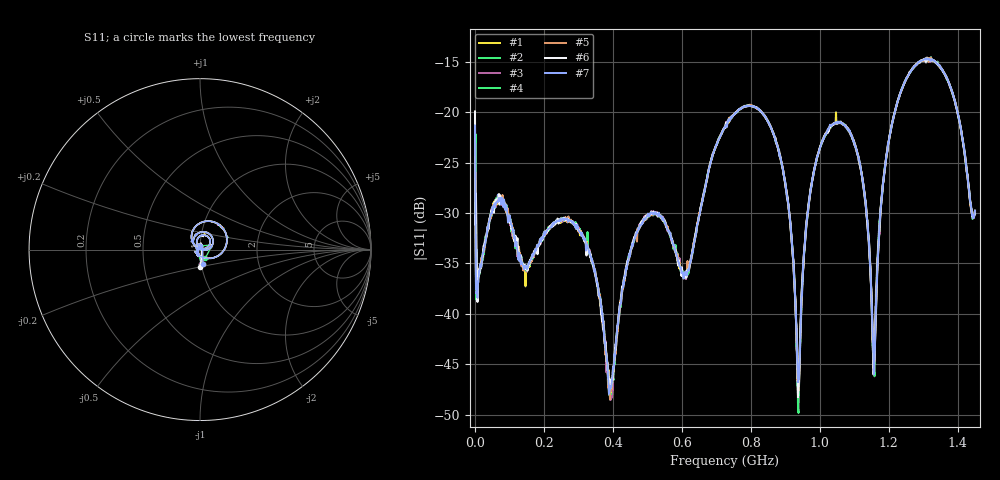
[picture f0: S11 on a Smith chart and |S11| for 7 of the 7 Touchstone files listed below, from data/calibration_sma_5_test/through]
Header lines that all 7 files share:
! Created with skrf 1.11.0 (http://scikit-rf.org).
# Hz S RI R 50.0
!freq ReS11 ImS11
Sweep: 50 kHz to 1.45 GHz
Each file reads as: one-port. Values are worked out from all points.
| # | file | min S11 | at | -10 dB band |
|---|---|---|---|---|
| 1 | test_1.s1p | -48.2 dB | 936.7 MHz | over 1.45 GHz wide |
| 2 | test_2.s1p | -48.2 dB | 393 MHz | over 1.45 GHz wide |
| 3 | test_3.s1p | -48.5 dB | 393 MHz | over 1.45 GHz wide |
| 4 | test_4.s1p | -49.8 dB | 938.2 MHz | over 1.45 GHz wide |
| 5 | test_5.s1p | -48.5 dB | 391.5 MHz | over 1.45 GHz wide |
| 6 | test_7.s1p | -48.3 dB | 936.7 MHz | over 1.45 GHz wide |
| 7 | test_10.s1p | -47.9 dB | 388.6 MHz | over 1.45 GHz wide |
